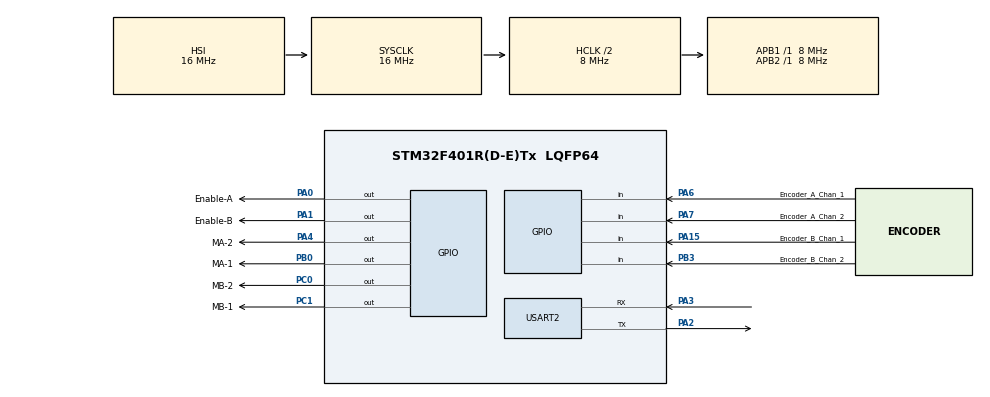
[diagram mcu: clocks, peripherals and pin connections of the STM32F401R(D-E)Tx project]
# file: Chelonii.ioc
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Mcu.Family=STM32F4
Mcu.Name=STM32F401R(D-E)Tx
Mcu.Package=LQFP64
NVIC.PriorityGroup=NVIC_PRIORITYGROUP_4
PA0-WKUP.GPIO_Label=Enable-A
PA0-WKUP.PinState=GPIO_PIN_SET
PA0-WKUP.Signal=GPIO_Output
PA1.GPIO_Label=Enable-B
PA1.PinState=GPIO_PIN_SET
PA1.Signal=GPIO_Output
PA13.Mode=Serial_Wire
PA13.Signal=SYS_JTMS-SWDIO
PA14.Mode=Serial_Wire
PA14.Signal=SYS_JTCK-SWCLK
PA15.GPIO_Label=Encoder_B_Chan_1
PA15.Signal=GPIO_Input
PA2.Mode=Asynchronous
PA2.Signal=USART2_TX
PA3.Mode=Asynchronous
PA3.Signal=USART2_RX
PA4.GPIO_Label=MA-2
PA4.Signal=GPIO_Output
PA6.GPIO_Label=Encoder_A_Chan_1
PA6.Signal=GPIO_Input
PA7.GPIO_Label=Encoder_A_Chan_2
PA7.Signal=GPIO_Input
PB0.GPIO_Label=MA-1
PB0.Signal=GPIO_Output
PB3.GPIO_Label=Encoder_B_Chan_2
PB3.Signal=GPIO_Input
PC0.GPIO_Label=MB-2
PC0.PinState=GPIO_PIN_SET
PC0.Signal=GPIO_Output
PC1.GPIO_Label=MB-1
PC1.PinState=GPIO_PIN_SET
PC1.Signal=GPIO_Output
ProjectManager.HeapSize=0x800
ProjectManager.StackSize=0x800
ProjectManager.TargetToolchain=STM32CubeIDE
RCC.AHBCLKDivider=RCC_SYSCLK_DIV2
RCC.AHBFreq_Value=8000000
RCC.APB1Freq_Value=8000000
RCC.APB1TimFreq_Value=8000000
RCC.APB2Freq_Value=8000000
RCC.APB2TimFreq_Value=8000000
RCC.CortexFreq_Value=8000000
RCC.HCLKFreq_Value=8000000
RCC.HSE_VALUE=25000000
RCC.HSI_VALUE=16000000
RCC.LSE_VALUE=32768
RCC.SYSCLKFreq_VALUE=16000000
RCC.VCOOutputFreq_Value=192000000
USART2.VirtualMode=VM_ASYNC
board=NUCLEO-F401RE

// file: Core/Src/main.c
/* USER CODE BEGIN Header */
/**
  ******************************************************************************
  * @file           : main.c
  * @brief          : Main program body
  ******************************************************************************
  * @attention
  *
  * <h2><center>&copy; Copyright (c) 2020 STMicroelectronics.
  * All rights reserved.</center></h2>
  *
  * This software component is licensed by ST under BSD 3-Clause license,
  * the "License"; You may not use this file except in compliance with the
  * License. You may obtain a copy of the License at:
  *                        opensource.org/licenses/BSD-3-Clause
  *
  ******************************************************************************
  */
/* USER CODE END Header */
#include "main.h"
#include "usart.h"
#include "gpio.h"

/* USER CODE BEGIN Includes */
#include <stdio.h>
/* USER CODE END Includes */

void SystemClock_Config(void);

int main(void)
{
  /* USER CODE BEGIN 1 */
	char txBuff[20];
	uint8_t rxBuff[1];

	uint8_t stringSize;
	stringSize = sprintf(txBuff,"%8s\r\n","Chelonii");
  /* USER CODE END 1 */

  /* MCU Configuration--------------------------------------------------------*/

  /* Reset of all peripherals, Initializes the Flash interface and the Systick. */
  HAL_Init();

  /* Configure the system clock */
  SystemClock_Config();

  /* Initialize all configured peripherals */
  MX_GPIO_Init();
  MX_USART2_UART_Init();
  /* USER CODE BEGIN 2 */
  HAL_GPIO_WritePin(Enable_A_GPIO_Port, Enable_A_Pin, 1);
  HAL_GPIO_WritePin(Enable_B_GPIO_Port, Enable_B_Pin, 1);
  HAL_GPIO_WritePin(MA_1_GPIO_Port, MA_1_Pin, 0);
  HAL_GPIO_WritePin(MA_2_GPIO_Port, MA_2_Pin, 0);
  HAL_GPIO_WritePin(MB_1_GPIO_Port, MB_1_Pin, 0);
  HAL_GPIO_WritePin(MB_2_GPIO_Port, MB_2_Pin, 0);
  /* USER CODE END 2 */

  /* Infinite loop */
  /* USER CODE BEGIN WHILE */
  while (1)
  {
	  while (HAL_UART_Receive(&huart2, rxBuff, 1, 20)!=HAL_OK){;}
	  switch (rxBuff[0]){
	  case '1':
		  HAL_GPIO_WritePin(MA_1_GPIO_Port, MA_1_Pin, 0);
		  HAL_GPIO_WritePin(MA_2_GPIO_Port, MA_2_Pin, 0);
		  HAL_GPIO_WritePin(MB_1_GPIO_Port, MB_1_Pin, 0);
		  HAL_GPIO_WritePin(MB_2_GPIO_Port, MB_2_Pin, 0);
		  stringSize = sprintf(txBuff,"%4s\r\n","Stop");
		  break;
	  case '2':
		  HAL_GPIO_WritePin(MA_1_GPIO_Port, MA_1_Pin, 1);
		  HAL_GPIO_WritePin(MA_2_GPIO_Port, MA_2_Pin, 0);
		  HAL_GPIO_WritePin(MB_1_GPIO_Port, MB_1_Pin, 1);
		  HAL_GPIO_WritePin(MB_2_GPIO_Port, MB_2_Pin, 0);
		  stringSize = sprintf(txBuff,"%5s\r\n","Front");
		  break;
	  case '3':
		  HAL_GPIO_WritePin(MA_1_GPIO_Port, MA_1_Pin, 0);
		  HAL_GPIO_WritePin(MA_2_GPIO_Port, MA_2_Pin, 1);
		  HAL_GPIO_WritePin(MB_1_GPIO_Port, MB_1_Pin, 0);
		  HAL_GPIO_WritePin(MB_2_GPIO_Port, MB_2_Pin, 1);
		  stringSize = sprintf(txBuff,"%4s\r\n","Back");
		  break;
	  case '4':
		  HAL_GPIO_WritePin(MA_1_GPIO_Port, MA_1_Pin, 1);
		  HAL_GPIO_WritePin(MA_2_GPIO_Port, MA_2_Pin, 0);
		  HAL_GPIO_WritePin(MB_1_GPIO_Port, MB_1_Pin, 0);
		  HAL_GPIO_WritePin(MB_2_GPIO_Port, MB_2_Pin, 1);
		  stringSize = sprintf(txBuff,"%3s\r\n","CCW");
		  break;
	  case '5':
	  	  HAL_GPIO_WritePin(MA_1_GPIO_Port, MA_1_Pin, 0);
	  	  HAL_GPIO_WritePin(MA_2_GPIO_Port, MA_2_Pin, 1);
	  	  HAL_GPIO_WritePin(MB_1_GPIO_Port, MB_1_Pin, 1);
	  	  HAL_GPIO_WritePin(MB_2_GPIO_Port, MB_2_Pin, 0);
	  	  stringSize = sprintf(txBuff,"%2s\r\n","CW");
	  	  break;
	  default:
		  stringSize = sprintf(txBuff,"%5s\r\n","Error");
		  break;
	  }
	  HAL_UART_Transmit(&huart2, (uint8_t*)txBuff, stringSize, 10);

    /* USER CODE END WHILE */

  }
}

void SystemClock_Config(void)
{
  RCC_OscInitTypeDef RCC_OscInitStruct = {0};
  RCC_ClkInitTypeDef RCC_ClkInitStruct = {0};

  /** Configure the main internal regulator output voltage
  */
  __HAL_RCC_PWR_CLK_ENABLE();
  __HAL_PWR_VOLTAGESCALING_CONFIG(PWR_REGULATOR_VOLTAGE_SCALE2);
  /** Initializes the RCC Oscillators according to the specified parameters
  * in the RCC_OscInitTypeDef structure.
  */
  RCC_OscInitStruct.OscillatorType = RCC_OSCILLATORTYPE_HSI;
  RCC_OscInitStruct.HSIState = RCC_HSI_ON;
  RCC_OscInitStruct.HSICalibrationValue = RCC_HSICALIBRATION_DEFAULT;
  RCC_OscInitStruct.PLL.PLLState = RCC_PLL_NONE;
  if (HAL_RCC_OscConfig(&RCC_OscInitStruct) != HAL_OK)
  {
    Error_Handler();
  }
  /** Initializes the CPU, AHB and APB buses clocks
  */
  RCC_ClkInitStruct.ClockType = RCC_CLOCKTYPE_HCLK|RCC_CLOCKTYPE_SYSCLK
                              |RCC_CLOCKTYPE_PCLK1|RCC_CLOCKTYPE_PCLK2;
  RCC_ClkInitStruct.SYSCLKSource = RCC_SYSCLKSOURCE_HSI;
  RCC_ClkInitStruct.AHBCLKDivider = RCC_SYSCLK_DIV2;
  RCC_ClkInitStruct.APB1CLKDivider = RCC_HCLK_DIV1;
  RCC_ClkInitStruct.APB2CLKDivider = RCC_HCLK_DIV1;

  if (HAL_RCC_ClockConfig(&RCC_ClkInitStruct, FLASH_LATENCY_0) != HAL_OK)
  {
    Error_Handler();
  }
}

void Error_Handler(void)
{
}

/************************ (C) COPYRIGHT STMicroelectronics *****END OF FILE****/
